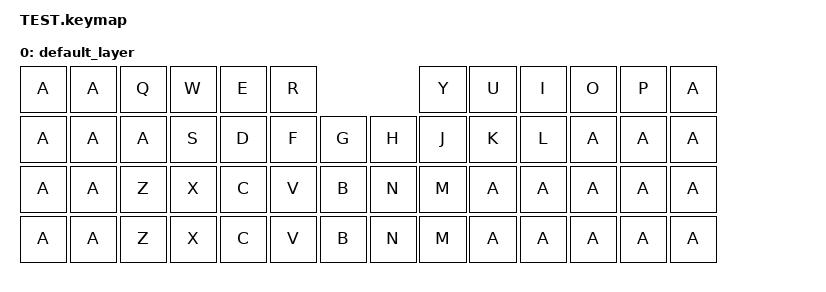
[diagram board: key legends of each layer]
#include <behaviors.dtsi>
#include <dt-bindings/zmk/keys.h>
#include <dt-bindings/zmk/bt.h>

/ {
        keymap {
                compatible = "zmk,keymap";

                default_layer {
   //fingers left                                     //fingers right
                        bindings = <
   &kp A  &kp A  &kp Q  &kp W  &kp E  &kp R                  &kp Y  &kp U  &kp I  &kp O  &kp P  &kp A
   &kp A  &kp A  &kp A  &kp S  &kp D  &kp F  &kp G    &kp H  &kp J  &kp K  &kp L  &kp A  &kp A  &kp A
   &kp A  &kp A  &kp Z  &kp X  &kp C  &kp V  &kp B    &kp N  &kp M  &kp A  &kp A  &kp A  &kp A  &kp A
   &kp A  &kp A  &kp Z  &kp X  &kp C  &kp V  &kp B    &kp N  &kp M  &kp A  &kp A  &kp A  &kp A  &kp A
                        >;
                };
        };

};
